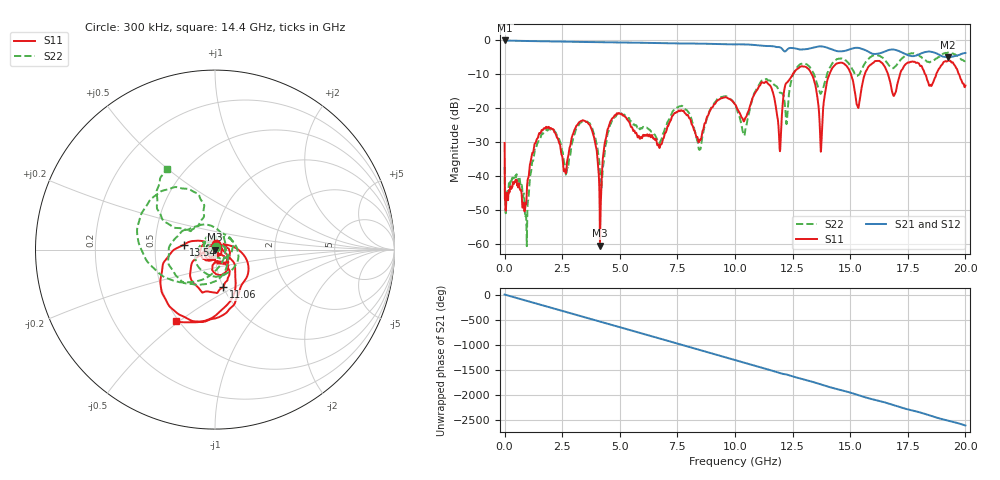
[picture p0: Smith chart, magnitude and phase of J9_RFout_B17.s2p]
!Agilent Technologies,N5230C,US43500524,A.09.42.22
!Agilent N5230C: A.09.42.22
!Date: Tuesday, June 02, 2015 09:35:36
!Correction: S11(Full 4 Port(1,2,3,4))
!S21(Full 4 Port(1,2,3,4))
!S12(Full 4 Port(1,2,3,4))
!S22(Full 4 Port(1,2,3,4))
!S2P File: Measurements: S11, S21, S12, S22:
# Hz S  MA  R 50
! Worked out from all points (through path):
!   1601 points, 300 kHz to 20 GHz, reference 50 ohm
!   highest |S21| = -0.03 dB at 25.3 MHz (marker M1); lowest = -4.9 dB at 19.24 GHz (marker M2)
!   group delay of S21, straight-line fit = 364 ps
!   lowest |S11| = -60.4 dB at 4.138 GHz (marker M3), VSWR 1.00, Z = 49.9 + j0.0414 ohm
!   |S11| at or under -10 dB: start of sweep to 12.5 GHz; 13.33 GHz to 14.1 GHz (767.6 MHz wide, 5.6 % of centre); 15.04 GHz to 15.63 GHz (594.7 MHz wide, 3.88 % of centre)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
!   |S22| runs from -60.5 to -3.6 dB; largest |S21 - S12| = 0.0022
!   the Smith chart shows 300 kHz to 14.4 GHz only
!   S11 on the Smith chart (normalised r, x): 300 kHz: 1.01, +0.06; 11.06 GHz: 1.00, -0.44; 13.54 GHz: 0.70, +0.04; 14.4 GHz: 0.49, -0.49
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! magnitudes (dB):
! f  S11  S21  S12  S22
! 300 kHz  -30.2  0.0  0.0  -37.3
! 25.3 MHz  -46.0  0.0  0.0  -47.7
! 950.3 MHz  -46.9  -0.2  -0.2  -55.6
! 1.588 GHz  -26.7  -0.3  -0.3  -28.0
! 2.638 GHz  -38.7  -0.4  -0.4  -37.9
! 3.338 GHz  -23.7  -0.5  -0.5  -24.1
! 4.138 GHz  -60.4  -0.5  -0.5  -38.5
! 4.838 GHz  -21.8  -0.6  -0.6  -22.3
! 6.675 GHz  -30.5  -0.8  -0.8  -29.5
! 10 GHz  -18.8  -1.2  -1.2  -18.9
! 10.41 GHz  -23.5  -1.2  -1.2  -27.9
! 11.06 GHz  -13.4  -1.5  -1.5  -12.9
! 11.94 GHz  -31.8  -2.0  -2.0  -15.3
! 12.26 GHz  -12.4  -2.7  -2.7  -22.8
! 13.34 GHz  -10.1  -2.2  -2.2  -8.8
! 13.54 GHz  -15.1  -1.9  -1.9  -12.2
! 13.75 GHz  -30.3  -1.8  -1.8  -15.4
! 14.4 GHz  -6.9  -3.1  -3.1  -5.6
! 15.34 GHz  -19.8  -2.2  -2.2  -10.3
! 16.68 GHz  -10.8  -2.8  -2.8  -7.3
! 19.24 GHz  -6.0  -4.9  -4.9  -3.6
! 20 GHz  -13.3  -3.7  -3.7  -6.1
